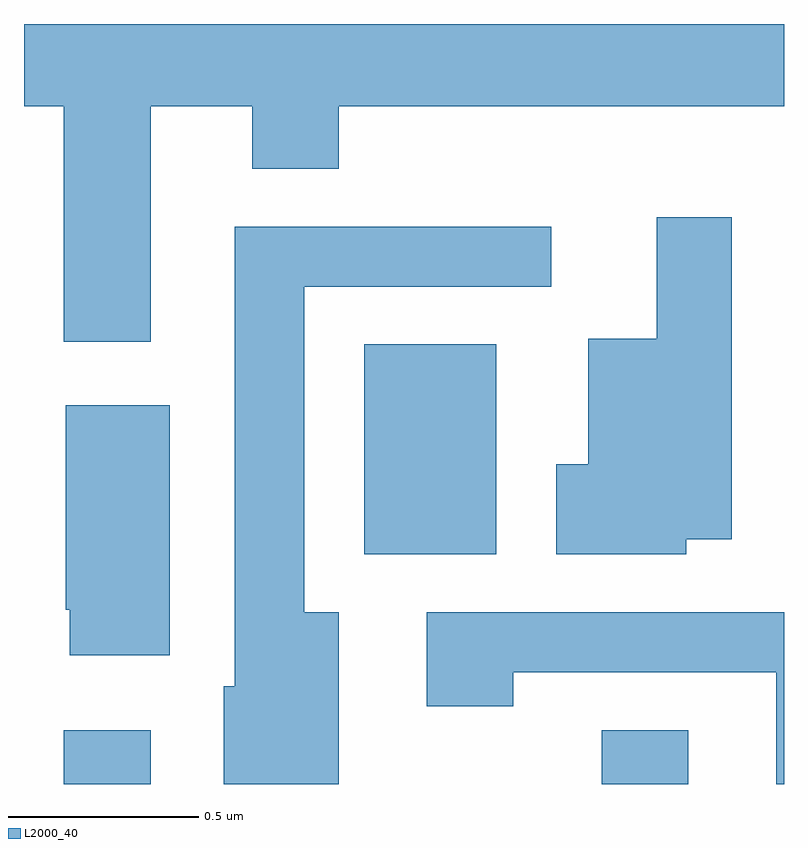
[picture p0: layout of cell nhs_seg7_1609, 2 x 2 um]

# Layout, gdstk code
import gdstk
lib = gdstk.Library(unit=1e-6, precision=1e-09)
def R(c, l, rs):  # rectangles x0, y0, x1, y1
    for r in rs: c.add(gdstk.rectangle(r[:2], r[2:], *l))
def P(c, l, *ps):  # polygons
    for p in ps: c.add(gdstk.Polygon(p, *l))
L2000_40 = (2000, 40)

nhs_seg7_1609 = lib.new_cell('nhs_seg7_1609')
R(nhs_seg7_1609, L2000_40, [(196.716,1770.252,196.944,1770.394), (198.131,1770.252,198.359,1770.394), (197.506,1770.856,197.854,1771.409)])
P(nhs_seg7_1609, L2000_40, [(196.944,1772.036),(197.211,1772.036),(197.211,1771.871),(197.439,1771.871),(197.439,1772.036),(198.611,1772.036),(198.611,1772.252),(196.611,1772.252),(196.611,1772.036),(196.716,1772.036),(196.716,1771.416),(196.944,1771.416)],
  [(198.354,1770.896),(198.474,1770.896),(198.474,1771.744),(198.276,1771.744),(198.276,1771.424),(198.096,1771.424),(198.096,1771.094),(198.011,1771.094),(198.011,1770.856),(198.354,1770.856)],
  [(197.439,1770.704),(197.349,1770.704),(197.349,1771.561),(197.998,1771.561),(197.998,1771.719),(197.166,1771.719),(197.166,1770.509),(197.136,1770.509),(197.136,1770.252),(197.439,1770.252)],
  [(196.994,1771.249),(196.721,1771.249),(196.721,1770.71),(196.731,1770.71),(196.731,1770.591),(196.994,1770.591)],
  [(198.611,1770.704),(197.671,1770.704),(197.671,1770.456),(197.899,1770.456),(197.899,1770.546),(198.591,1770.546),(198.591,1770.252),(198.611,1770.252)])

lib.write_gds('nhs_seg7_1609.gds')
